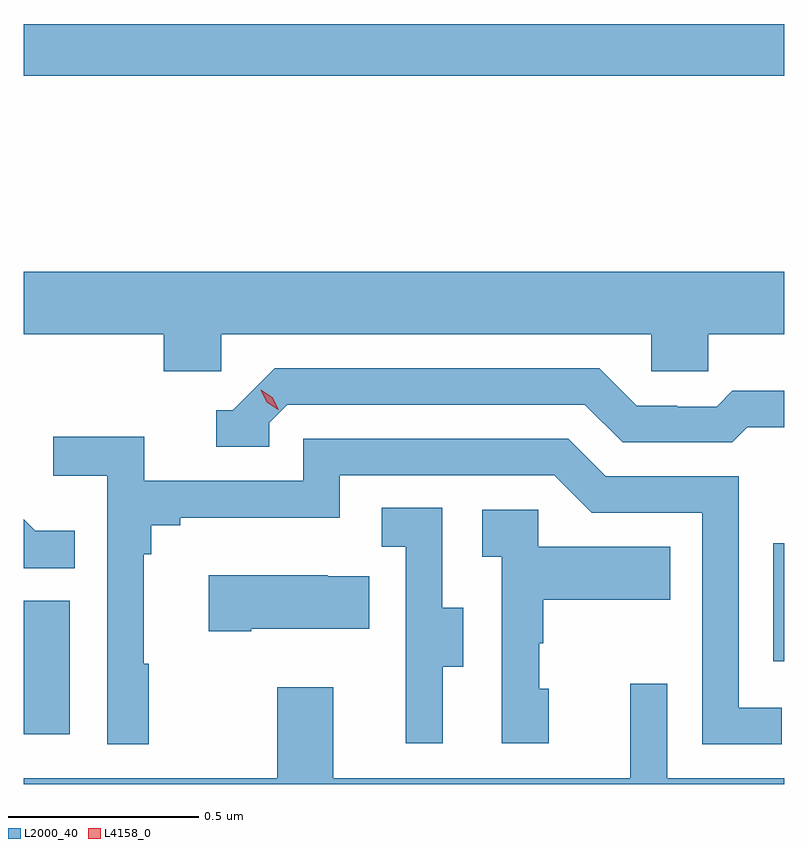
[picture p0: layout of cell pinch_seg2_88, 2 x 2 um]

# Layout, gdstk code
import gdstk
lib = gdstk.Library(unit=1e-6, precision=1e-09)
def R(c, l, rs):  # rectangles x0, y0, x1, y1
    for r in rs: c.add(gdstk.rectangle(r[:2], r[2:], *l))
def P(c, l, *ps):  # polygons
    for p in ps: c.add(gdstk.Polygon(p, *l))
L2000_40 = (2000, 40)
L4158_0 = (4158, 0)

pinch_seg2_88 = lib.new_cell('pinch_seg2_88')
R(pinch_seg2_88, L2000_40, [(1070.919,649.248,1071.04,649.599), (1072.89,649.44,1072.919,649.75), (1070.919,650.98,1072.919,651.116)])
P(pinch_seg2_88, L2000_40, [(1071.438,650.3),(1072.569,650.3),(1072.569,650.202),(1072.719,650.202),(1072.719,650.3),(1072.919,650.3),(1072.919,650.464),(1070.919,650.464),(1070.919,650.3),(1071.287,650.3),(1071.287,650.202),(1071.438,650.202)],
  [(1071.564,650.067),(1071.612,650.115),(1072.395,650.115),(1072.494,650.016),(1072.783,650.016),(1072.822,650.055),(1072.919,650.055),(1072.919,650.152),(1072.783,650.152),(1072.741,650.109),(1072.638,650.109),(1072.638,650.112),(1072.531,650.112),(1072.432,650.211),(1071.579,650.211),(1071.468,650.1),(1071.425,650.1),(1071.425,650.004),(1071.564,650.004)],
  [(1071.247,649.433),(1071.235,649.433),(1071.235,649.721),(1071.254,649.721),(1071.254,649.798),(1071.331,649.798),(1071.331,649.817),(1071.75,649.817),(1071.75,649.929),(1072.314,649.929),(1072.413,649.83),(1072.704,649.83),(1072.704,649.221),(1072.913,649.221),(1072.913,649.317),(1072.8,649.317),(1072.8,649.926),(1072.45,649.926),(1072.351,650.025),(1071.654,650.025),(1071.654,649.914),(1071.236,649.914),(1071.236,650.03),(1070.997,650.03),(1070.997,649.928),(1071.138,649.928),(1071.138,649.221),(1071.247,649.221)],
  [(1072.021,649.426),(1072.075,649.426),(1072.075,649.581),(1072.02,649.581),(1072.02,649.844),(1071.861,649.844),(1071.861,649.741),(1071.924,649.741),(1071.924,649.437),(1071.923,649.437),(1071.923,649.224),(1072.021,649.224)],
  [(1072.3,649.368),(1072.275,649.368),(1072.275,649.487),(1072.285,649.487),(1072.285,649.601),(1072.619,649.601),(1072.619,649.741),(1072.272,649.741),(1072.272,649.839),(1072.125,649.839),(1072.125,649.715),(1072.176,649.715),(1072.176,649.224),(1072.3,649.224)],
  [(1071.053,649.783),(1070.949,649.783),(1070.919,649.813),(1070.919,649.684),(1071.053,649.684)],
  [(1071.517,649.526),(1071.827,649.526),(1071.827,649.663),(1071.719,649.663),(1071.719,649.666),(1071.405,649.666),(1071.405,649.519),(1071.517,649.519)],
  [(1072.919,649.132),(1072.611,649.132),(1072.611,649.381),(1072.514,649.381),(1072.514,649.132),(1071.733,649.132),(1071.733,649.372),(1071.586,649.372),(1071.586,649.132),(1070.919,649.132),(1070.919,649.117),(1072.919,649.117)])
P(pinch_seg2_88, L4158_0, [(1071.588,650.101),(1071.558,650.121),(1071.542,650.154),(1071.542,650.154),(1071.542,650.154),(1071.573,650.134),(1071.589,650.101),(1071.589,650.101)])

lib.write_gds('pinch_seg2_88.gds')
